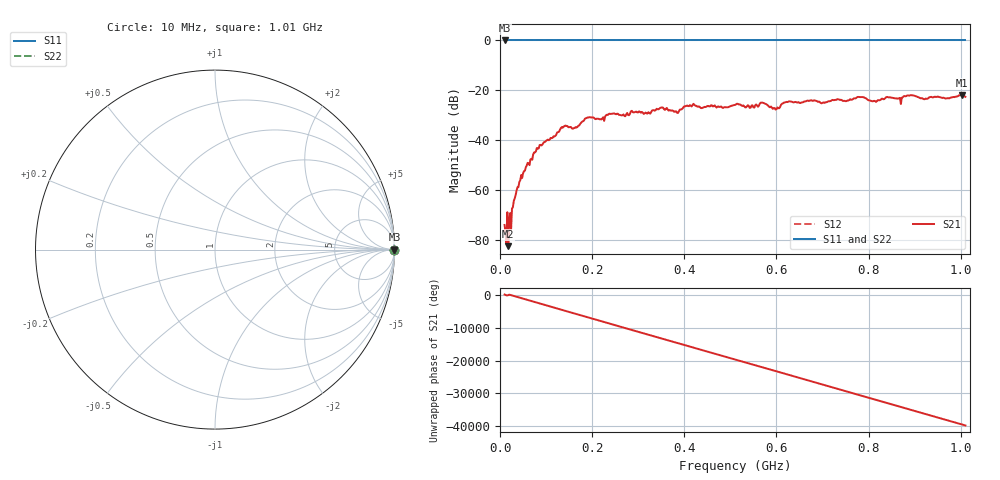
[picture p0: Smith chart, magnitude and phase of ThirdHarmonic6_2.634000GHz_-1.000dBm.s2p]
! 8/17/2025 5:54:39 AM
! C:\ANRITSUVNA\TEMP\TEMP.S2P
! CHANNEL.1
! TR.MEASUREMENT
! RAW.DATA
! RF.CORRECTION.OFF
! AVERAGING.OFF
! IF.BANDWIDTH: 5KHZ
! SWEEPTYPE:  FREQ.SWEEP(Linear)
! Reference Plane Port Info
! PORT:  PORT1  PORT2
! DISTANCE:  0  m  0  m
! TIME:  0  s  0  s
! PHASE.OFFSET:  0  deg.  0  deg.
! LOSS:  0  dB  0  dB
! REF.LOSS:  0  dB  0  dB
! REF.FREQ:  0  Hz  0  Hz
! Power Info
! POWER:  -20  dBm  -20  dBm
! EFF.POWER:  -20  dBm  -20  dBm
! SOURCE.ATTEN:  0  dB  0  dB
! TEST.ATTEN:  0  dB  0  dB
# GHZ S RI R 50.0
! FREQ.GHZ  S11RE  S11IM  S21RE  S21IM  S12RE  S12IM  S22RE  S22IM
!; PortSelection: Port_12
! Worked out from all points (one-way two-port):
!   501 points, 10 MHz to 1.01 GHz, reference 50 ohm
!   highest |S21| = -21.87 dB at 1.002 GHz (marker M1); lowest = -82.5 dB at 18 MHz (marker M2)
!   lowest |S11| = 0.0 dB at 10 MHz (marker M3)
!   |S11| at or under -10 dB: nowhere
!   |S22| runs from 0.0 to 0.0 dB; largest |S21 - S12| = 1.1
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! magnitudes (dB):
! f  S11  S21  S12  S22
! 10 MHz  0.0  -74.0  0.0  0.0
! 18 MHz  0.0  -82.5  0.0  0.0
! 22 MHz  0.0  -69.2  0.0  0.0
! 30 MHz  0.0  -64.3  0.0  0.0
! 42 MHz  0.0  -56.7  0.0  0.0
! 76 MHz  0.0  -44.9  0.0  0.0
! 136 MHz  0.0  -35.0  0.0  0.0
! 162 MHz  0.0  -35.1  0.0  0.0
! 178 MHz  0.0  -32.6  0.0  0.0
! 192 MHz  0.0  -30.9  0.0  0.0
! 344 MHz  0.0  -27.6  0.0  0.0
! 382 MHz  0.0  -28.4  0.0  0.0
! 416 MHz  0.0  -26.5  0.0  0.0
! 510 MHz  0.0  -25.8  0.0  0.0
! 570 MHz  0.0  -25.0  0.0  0.0
! 596 MHz  0.0  -27.1  0.0  0.0
! 624 MHz  0.0  -24.7  0.0  0.0
! 678 MHz  0.0  -24.2  0.0  0.0
! 814 MHz  0.0  -24.3  0.0  0.0
! 844 MHz  0.0  -22.8  0.0  0.0
! 1.002 GHz  0.0  -21.9  0.0  0.0
! 1.01 GHz  0.0  -22.6  0.0  0.0
